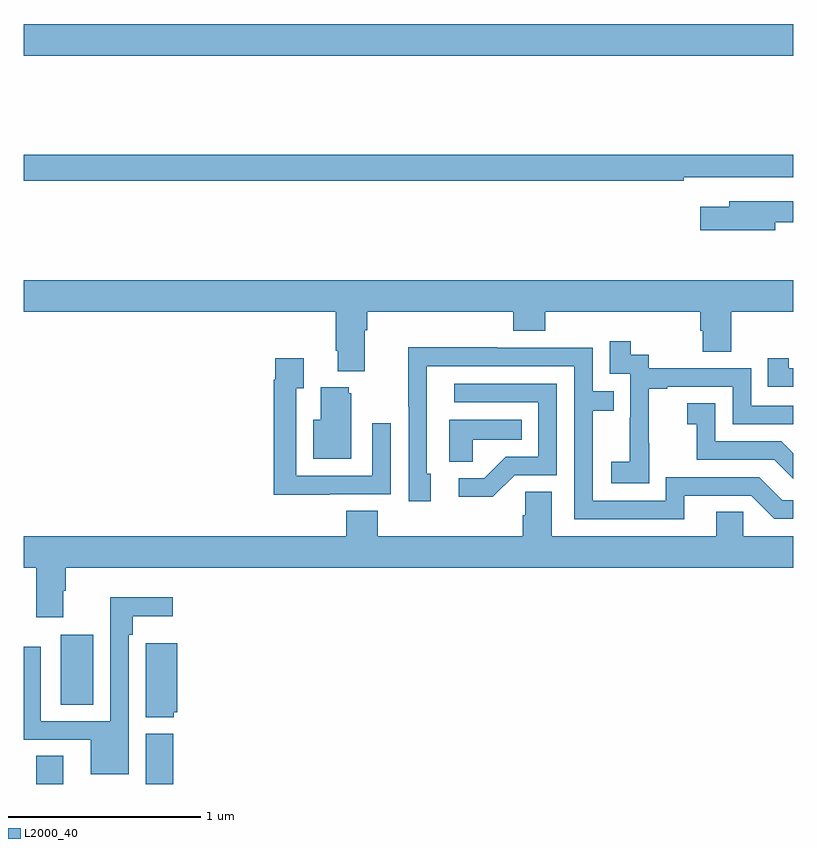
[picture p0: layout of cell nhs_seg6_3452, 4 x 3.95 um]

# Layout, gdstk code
import gdstk
lib = gdstk.Library(unit=1e-6, precision=1e-09)
def R(c, l, rs):  # rectangles x0, y0, x1, y1
    for r in rs: c.add(gdstk.rectangle(r[:2], r[2:], *l))
def P(c, l, *ps):  # polygons
    for p in ps: c.add(gdstk.Polygon(p, *l))
L2000_40 = (2000, 40)

nhs_seg6_3452 = lib.new_cell('nhs_seg6_3452')
R(nhs_seg6_3452, L2000_40, [(313.064,991.5,313.204,991.646), (313.634,991.5,313.778,991.762), (313.193,991.912,313.36,992.275), (313,995.288,317,995.452)])
P(nhs_seg6_3452, L2000_40, [(316.43,994.656),(317,994.656),(317,994.772),(313,994.772),(313,994.636),(316.43,994.636)],
  [(316.906,994.422),(317,994.422),(317,994.53),(316.667,994.53),(316.667,994.501),(316.518,994.501),(316.518,994.379),(316.906,994.379)],
  [(314.773,993.86),(314.786,993.86),(314.786,993.956),(315.545,993.956),(315.545,993.857),(315.71,993.857),(315.71,993.956),(316.517,993.956),(316.517,993.858),(316.529,993.858),(316.529,993.748),(316.677,993.748),(316.677,993.956),(317,993.956),(317,994.12),(313,994.12),(313,993.956),(314.621,993.956),(314.621,993.754),(314.633,993.754),(314.633,993.647),(314.773,993.647)],
  [(316.251,993.271),(316.25,993.271),(316.25,993.555),(316.345,993.555),(316.345,993.567),(316.686,993.567),(316.686,993.372),(317,993.372),(317,993.468),(316.782,993.468),(316.782,993.663),(316.248,993.663),(316.248,993.732),(316.156,993.732),(316.156,993.802),(316.047,993.802),(316.047,993.633),(316.152,993.633),(316.152,993.404),(316.151,993.404),(316.151,993.175),(316.053,993.175),(316.053,993.065),(316.251,993.065)],
  [(316.435,993),(316.782,993),(316.902,992.88),(317,992.88),(317,992.976),(316.944,992.976),(316.824,993.096),(316.338,993.096),(316.338,992.973),(315.957,992.973),(315.957,993.442),(316.067,993.442),(316.067,993.543),(315.957,993.543),(315.957,993.768),(315.461,993.768),(315.461,993.77),(314.998,993.77),(314.998,993.463),(315,993.463),(315,992.97),(315.115,992.97),(315.115,993.114),(315.096,993.114),(315.096,993.672),(315.861,993.672),(315.861,992.877),(316.435,992.877)],
  [(317,993.663),(316.978,993.663),(316.978,993.715),(316.867,993.715),(316.867,993.567),(317,993.567)],
  [(314.591,993.006),(314.907,993.006),(314.907,993.376),(314.811,993.376),(314.811,993.102),(314.415,993.102),(314.415,993.559),(314.455,993.559),(314.455,993.715),(314.307,993.715),(314.307,993.602),(314.299,993.602),(314.299,993.005),(314.591,993.005)],
  [(315.552,993.105),(315.771,993.105),(315.771,993.582),(315.237,993.582),(315.237,993.486),(315.675,993.486),(315.675,993.201),(315.506,993.201),(315.395,993.09),(315.261,993.09),(315.261,992.993),(315.439,992.993)],
  [(314.701,993.531),(314.69,993.531),(314.69,993.562),(314.543,993.562),(314.543,993.394),(314.504,993.394),(314.504,993.191),(314.701,993.191)],
  [(317,993.22),(316.938,993.282),(316.596,993.282),(316.596,993.481),(316.449,993.481),(316.449,993.371),(316.498,993.371),(316.498,993.186),(316.901,993.186),(317,993.087)],
  [(315.333,993.29),(315.59,993.29),(315.59,993.394),(315.212,993.394),(315.212,993.175),(315.333,993.175)],
  [(313.204,992.504),(313.217,992.504),(313.217,992.624),(317,992.624),(317,992.788),(316.74,992.788),(316.74,992.915),(316.601,992.915),(316.601,992.788),(315.745,992.788),(315.745,993.02),(315.606,993.02),(315.606,992.897),(315.593,992.897),(315.593,992.788),(314.84,992.788),(314.84,992.921),(314.675,992.921),(314.675,992.788),(313,992.788),(313,992.624),(313.064,992.624),(313.064,992.367),(313.204,992.367)],
  [(313.545,992.276),(313.565,992.276),(313.565,992.372),(313.774,992.372),(313.774,992.47),(313.449,992.47),(313.449,991.827),(313.089,991.827),(313.089,992.215),(313,992.215),(313,991.731),(313.349,991.731),(313.349,991.55),(313.545,991.55)],
  [(313.779,991.872),(313.798,991.872),(313.798,992.233),(313.634,992.233),(313.634,991.847),(313.779,991.847)])

lib.write_gds('nhs_seg6_3452.gds')
